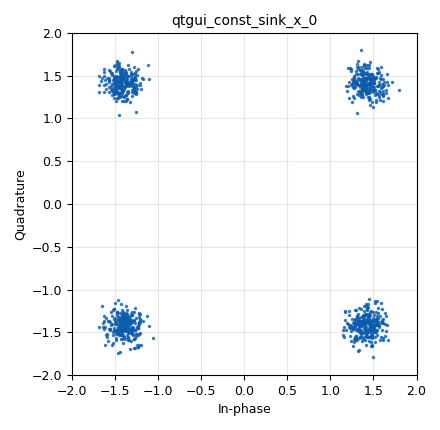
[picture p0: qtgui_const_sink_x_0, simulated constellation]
options:
  parameters:
    author: Hugo Martínez
    generate_options: qt_gui
    id: untitled
    output_language: python
    title: Not titled yet
  states: {}

blocks:
- name: EbN0
  id: variable_qtgui_range
  parameters:
    label: Energy Bit / Noise Power
    start: '-100'
    step: '1'
    stop: '100'
    value: '10'
    widget: counter
  states: {}
- name: const
  id: variable
  parameters:
    value: (digital.constellation_bpsk(), digital.constellation_qpsk(), digital.constellation_8psk())
  states: {}
- name: const_type
  id: variable
  parameters:
    value: '1'
  states: {}
- name: samp_rate
  id: variable
  parameters:
    value: 10e6
  states: {}
- name: variable_constellation_0
  id: variable_constellation
  parameters:
    precision: '8'
    type: bpsk
  states: {}
- name: analog_noise_source_x_0
  id: analog_noise_source_x
  parameters:
    amp: 1.0 / math.sqrt(2.0 *const[const_type].bits_per_symbol() * 10**(EbN0/10))
    noise_type: analog.GR_GAUSSIAN
    seed: '0'
    type: complex
  states: {}
- name: analog_random_source_x_0
  id: analog_random_source_x
  parameters:
    max: const[const_type].arity()
    min: '0'
    num_samps: '10000000'
    repeat: 'True'
    type: byte
  states: {}
- name: blocks_add_xx_0
  id: blocks_add_xx
  parameters:
    type: complex
  states: {}
- name: blocks_throttle2_0
  id: blocks_throttle2
  parameters:
    samples_per_second: samp_rate
    type: byte
  states: {}
- name: digital_chunks_to_symbols_xx_0
  id: digital_chunks_to_symbols_xx
  parameters:
    dimension: '1'
    in_type: byte
    out_type: complex
    symbol_table: const[const_type].points()
  states: {}
- name: digital_constellation_decoder_cb_0
  id: digital_constellation_decoder_cb
  parameters:
    constellation: const[const_type].base()
  states: {}
- name: fec_ber_bf_0
  id: fec_ber_bf
  parameters:
    berlimit: 10e6
    test_mode: 'False'
  states: {}
- name: import_0
  id: import
  parameters:
    imports: import math
  states: {}
- name: qtgui_const_sink_x_0
  id: qtgui_const_sink_x
  parameters:
    size: '1024'
    type: complex
  states: {}
- name: qtgui_number_sink_0
  id: qtgui_number_sink
  parameters:
    autoscale: 'True'
    graph_type: qtgui.NUM_GRAPH_HORIZ
    type: float
  states: {}

connections:
- [analog_noise_source_x_0, '0', blocks_add_xx_0, '1']
- [analog_random_source_x_0, '0', blocks_throttle2_0, '0']
- [analog_random_source_x_0, '0', digital_chunks_to_symbols_xx_0, '0']
- [blocks_add_xx_0, '0', digital_constellation_decoder_cb_0, '0']
- [blocks_add_xx_0, '0', qtgui_const_sink_x_0, '0']
- [blocks_throttle2_0, '0', fec_ber_bf_0, '0']
- [digital_chunks_to_symbols_xx_0, '0', blocks_add_xx_0, '0']
- [digital_constellation_decoder_cb_0, '0', fec_ber_bf_0, '1']
- [fec_ber_bf_0, '0', qtgui_number_sink_0, '0']

metadata:
  file_format: 1
  grc_version: 3.10.12.0
